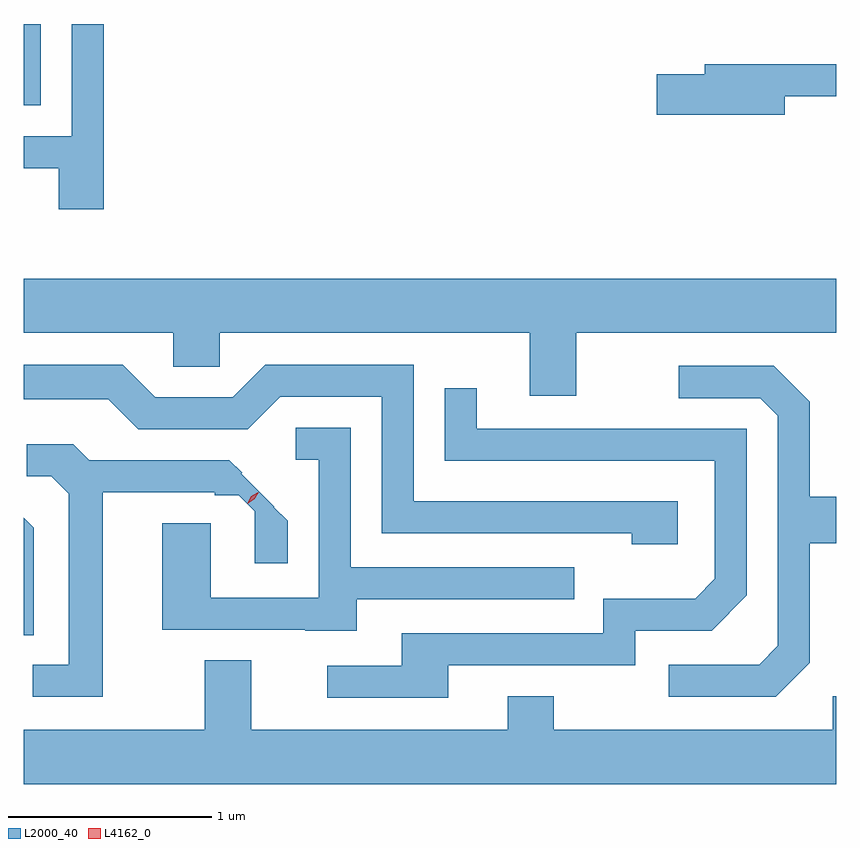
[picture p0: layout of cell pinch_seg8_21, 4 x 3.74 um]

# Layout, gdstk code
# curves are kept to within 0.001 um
import gdstk
lib = gdstk.Library(unit=1e-6, precision=1e-09)
def R(c, l, rs):  # rectangles x0, y0, x1, y1
    for r in rs: c.add(gdstk.rectangle(r[:2], r[2:], *l))
def P(c, l, *ps):  # polygons
    for p in ps: c.add(gdstk.Polygon(p, *l))
L2000_40 = (2000, 40)
L4162_0 = (4162, 0)

pinch_seg8_21 = lib.new_cell('pinch_seg8_21')
R(pinch_seg8_21, L2000_40, [(1766.519,1870.836,1766.604,1871.237)])
P(pinch_seg8_21, L2000_40, [(1766.914,1871.237),(1766.756,1871.237),(1766.756,1870.684),(1766.519,1870.684),(1766.519,1870.526),(1766.691,1870.526),(1766.691,1870.326),(1766.914,1870.326)],
  [(1770.264,1870.881),(1770.519,1870.881),(1770.519,1871.039),(1769.871,1871.039),(1769.871,1870.989),(1769.636,1870.989),(1769.636,1870.791),(1770.264,1870.791)],
  [(1769.239,1869.716),(1770.519,1869.716),(1770.519,1869.984),(1766.519,1869.984),(1766.519,1869.716),(1767.256,1869.716),(1767.256,1869.551),(1767.484,1869.551),(1767.484,1869.716),(1769.011,1869.716),(1769.011,1869.406),(1769.239,1869.406)],
  [(1769.739,1868.889),(1768.439,1868.889),(1768.439,1869.559),(1767.709,1869.559),(1767.549,1869.399),(1767.167,1869.399),(1767.007,1869.559),(1766.519,1869.559),(1766.519,1869.391),(1766.934,1869.391),(1767.084,1869.241),(1767.622,1869.241),(1767.782,1869.401),(1768.281,1869.401),(1768.281,1868.731),(1769.511,1868.731),(1769.511,1868.676),(1769.739,1868.676)],
  [(1770.389,1868.094),(1770.389,1868.681),(1770.519,1868.681),(1770.519,1868.909),(1770.389,1868.909),(1770.389,1869.377),(1770.212,1869.554),(1769.743,1869.554),(1769.743,1869.396),(1770.144,1869.396),(1770.231,1869.309),(1770.231,1868.177),(1770.139,1868.084),(1769.693,1868.084),(1769.693,1867.926),(1770.222,1867.926)],
  [(1768.609,1868.081),(1769.529,1868.081),(1769.529,1868.251),(1769.907,1868.251),(1770.079,1868.424),(1770.079,1869.244),(1768.749,1869.244),(1768.749,1869.443),(1768.591,1869.443),(1768.591,1869.086),(1769.921,1869.086),(1769.921,1868.507),(1769.824,1868.409),(1769.371,1868.409),(1769.371,1868.239),(1768.381,1868.239),(1768.381,1868.079),(1768.013,1868.079),(1768.013,1867.921),(1768.609,1867.921)],
  [(1768.159,1868.406),(1769.228,1868.406),(1769.228,1868.564),(1768.129,1868.564),(1768.129,1869.249),(1767.858,1869.249),(1767.858,1869.091),(1767.971,1869.091),(1767.971,1868.414),(1767.439,1868.414),(1767.439,1868.779),(1767.201,1868.779),(1767.201,1868.256),(1767.905,1868.256),(1767.905,1868.251),(1768.159,1868.251)],
  [(1766.909,1868.931),(1767.46,1868.931),(1767.46,1868.918),(1767.578,1868.918),(1767.657,1868.839),(1767.657,1868.583),(1767.819,1868.583),(1767.819,1868.791),(1767.59,1869.022),(1767.594,1869.027),(1767.532,1869.089),(1766.842,1869.089),(1766.762,1869.169),(1766.533,1869.169),(1766.533,1869.011),(1766.654,1869.011),(1766.741,1868.924),(1766.741,1868.084),(1766.563,1868.084),(1766.563,1867.926),(1766.909,1867.926)],
  [(1766.569,1868.757),(1766.519,1868.807),(1766.519,1868.228),(1766.569,1868.228)],
  [(1770.519,1867.929),(1770.501,1867.929),(1770.501,1867.764),(1769.129,1867.764),(1769.129,1867.929),(1768.901,1867.929),(1768.901,1867.764),(1767.639,1867.764),(1767.639,1868.104),(1767.411,1868.104),(1767.411,1867.764),(1766.519,1867.764),(1766.519,1867.496),(1770.519,1867.496)])
P(pinch_seg8_21, L4162_0, [(1767.619,1868.876),(1767.619,1868.876),(1767.64,1868.911),(1767.675,1868.933),(1767.676,1868.933),(1767.676,1868.932),(1767.654,1868.897),(1767.619,1868.876)],
  [(1767.623,1868.881),(1767.623,1868.881),(1767.639,1868.912),(1767.669,1868.929),(1767.67,1868.929),(1767.67,1868.928),(1767.654,1868.898),(1767.624,1868.881)])

lib.write_gds('pinch_seg8_21.gds')
